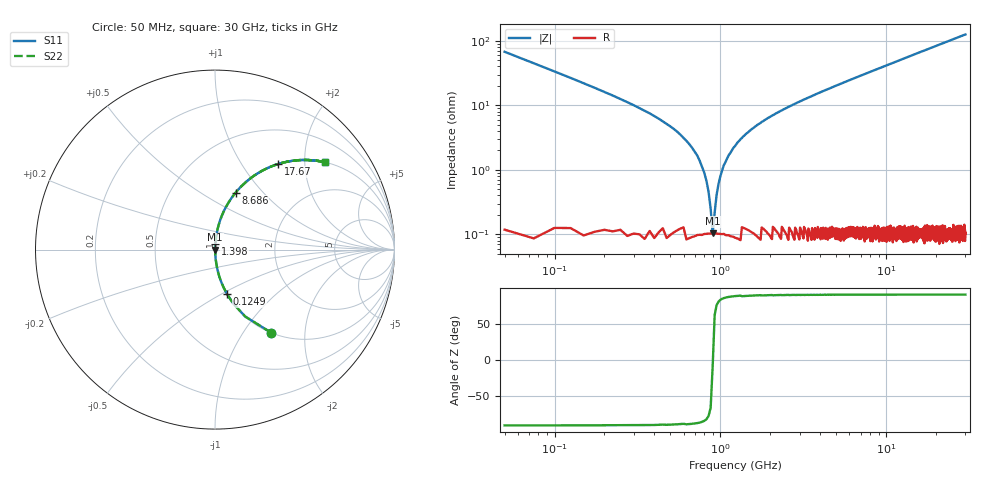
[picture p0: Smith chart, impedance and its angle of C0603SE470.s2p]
!	AVX Thin Film Operation 	Date: April 2014
!	Description: Accu-P® Series, Thin Film  SMD RF Capacitor
!	Part Number: 06033K470FBSTR
# MHZ S MA R 50
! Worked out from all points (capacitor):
!   1201 points, 50 MHz to 30 GHz, reference 50 ohm
!   read as one part in series: C = 47 pF near 199.8 MHz
!   lowest |Z| = 104 mohm at 898.6 MHz (marker M1)
!   series resonance near 900.3 MHz, so ESL is about 660 pH
!   S11 on the Smith chart (normalised r, x): 50 MHz: 1.00, -1.35; 124.9 MHz: 1.00, -0.53; 1.398 GHz: 1.00, +0.07; 8.686 GHz: 1.00, +0.72; 17.67 GHz: 1.00, +1.47; 30 GHz: 1.00, +2.50
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50  0.559 -55.9  0.828 34.0  0.828 34.0  0.559 -55.9
124.875  0.257 -74.9  0.965 14.9  0.965 14.9  0.257 -74.9
224.708  0.14 -81.5  0.989 8.0  0.989 8.0  0.14 -81.5
349.5  0.082 -84.6  0.996 4.7  0.996 4.7  0.082 -84.6
649  0.025 -86.1  0.999 1.4  0.999 1.4  0.025 -86.1
798.75  0.009072 -82.8  0.999 0.5  0.999 0.5  0.009072 -82.8
898.583  0.001068 -7.5  0.999 0.0  0.999 0.0  0.001068 -7.5
998.417  0.007864 81.8  0.999 -0.4  0.999 -0.4  0.007864 81.8
1098.25  0.015 85.1  0.999 -0.9  0.999 -0.9  0.015 85.1
1173.125  0.02 85.8  0.999 -1.2  0.999 -1.2  0.02 85.8
1397.75  0.034 86.3  0.998 -2.0  0.998 -2.0  0.034 86.3
1896.917  0.061 85.5  0.997 -3.5  0.997 -3.5  0.061 85.5
2595.75  0.095 83.9  0.994 -5.4  0.994 -5.4  0.095 83.9
3644  0.141 81.4  0.989 -8.1  0.989 -8.1  0.141 81.4
5041.667  0.2 78.2  0.979 -11.5  0.979 -11.5  0.2 78.2
8685.583  0.338 70.1  0.94 -19.7  0.94 -19.7  0.338 70.1
10058.29  0.384 67.2  0.922 -22.6  0.922 -22.6  0.384 67.2
15025  0.53 57.9  0.847 -32.0  0.847 -32.0  0.53 57.9
17670.58  0.593 53.6  0.805 -36.3  0.805 -36.3  0.593 53.6
20016.67  0.64 50.1  0.767 -39.8  0.767 -39.8  0.64 50.1
25033.29  0.722 43.7  0.691 -46.2  0.691 -46.2  0.722 43.7
30000  0.781 38.6  0.624 -51.4  0.624 -51.4  0.781 38.6
